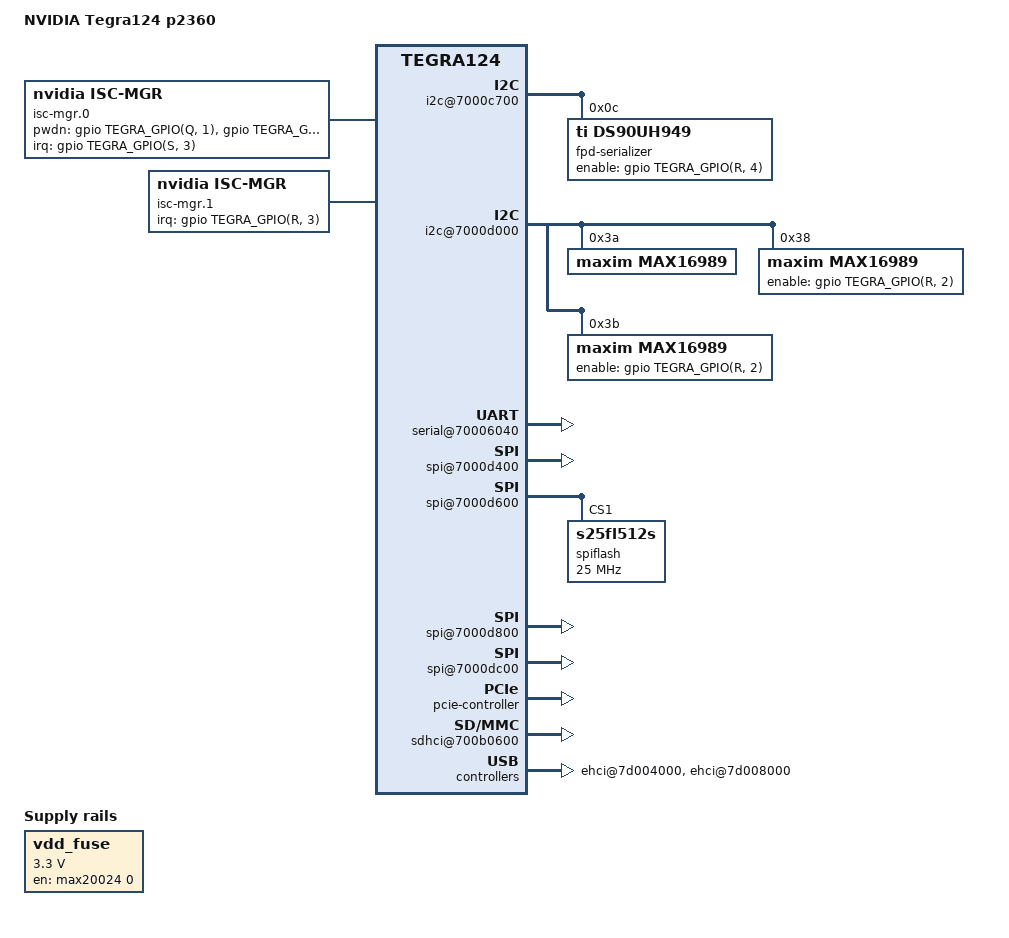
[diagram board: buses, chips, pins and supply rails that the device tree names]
/*
 * arch/arm/boot/dts/tegra124-p2360.dts
 *
 * Copyright (c) 2014-2015, NVIDIA CORPORATION.  All rights reserved.
 *
 * This program is free software; you can redistribute it and/or modify
 * it under the terms of the GNU General Public License as published by
 * the Free Software Foundation; version 2 of the License.
 *
 * This program is distributed in the hope that it will be useful, but WITHOUT
 * ANY WARRANTY; without even the implied warranty of MERCHANTABILITY or
 * FITNESS FOR A PARTICULAR PURPOSE.  See the GNU General Public License for
 * more details.
 *
 * You should have received a copy of the GNU General Public License along
 * with this program; if not, write to the Free Software Foundation, Inc.,
 * 51 Franklin Street, Fifth Floor, Boston, MA  02110-1301, USA.
 *
 */

 /dts-v1/;

#include "tegra124-vcm30_t124.dtsi"
#include <tegra124-platforms/tegra124-vcm30-t124-hdmi.dtsi>
#include <panel-a-lvds-800-480-14-0.dtsi>
#include <dt-bindings/display/tegra-panel.h>
#include <tegra124-platforms/tegra124-pmic-vcm30t124-max20024.dtsi>

/ {
	model = "NVIDIA Tegra124 p2360";
	compatible = "nvidia,p2360", "nvidia,tegra124";
	nvidia,dtsfilename = __FILE__;
	#address-cells = <2>;
	#size-cells = <2>;

	firmware {
		android {
			compatible = "android,firmware";
			hardware = "p2360";
		};
	};

	host1x {
		sor {
			status = "okay";
			panel-lvds-800-480 {
				status = "okay";
				disp-default-out {
					nvidia,out-max-pixclk = <3367>;
				};
			};
		};
		/* tegradc.0 */
		dc@54200000 {
			nvidia,dc-flags = <TEGRA_DC_FLAG_ENABLED>;
			nvidia,emc-clk-rate = <300000000>;
			nvidia,fb-bpp = <32>; /* bits per pixel */
			status = "okay";
		};
		/* tegradc.1 */
		dc@54240000 {
			nvidia,emc-clk-rate = <300000000>;
			nvidia,fb-bpp = <32>; /* bits per pixel */
			status = "okay";
		};
		hdmi {
			nvidia,hpd-gpio = <&gpio 0xFFFFFFFF 1>; /* hotplug less HDMI */
			hdmi-display {
				nvidia,edid = [00 FF FF FF FF FF FF 00 04 21 00 00 00 00 00 00
						01 00 01 03 00 00 00 00 00 00 00 00 00 00 00 00
						00 00 00 00 00 00 01 01 01 01 01 01 01 01 01 01
						01 01 01 01 01 01 FE 0C 20 00 31 E0 2D 10 40 40
						43 00 00 00 00 00 00 00 00 00 00 10 00 00 00 00
						00 00 00 00 00 00 00 00 00 00 00 00 00 10 00 00
						00 00 00 00 00 00 00 00 00 00 00 00 00 00 00 10
						00 00 00 00 00 00 00 00 00 00 00 00 00 00 00 61];
				nvidia,hdmi-fpd-bridge = <TEGRA_HDMI_ENABLE>;
			};
		};
	};

	i2c@7000c700 {
		fpd-serializer@0c {
			compatible = "ti,ds90uh949";
			reg = <0x0c>;
			ti,enable-gpio = <&gpio TEGRA_GPIO(R, 4) 0>; /*PR4*/
			ti,power-on-delay = <4>;
			ti,power-off-delay = <3>;
		};
	};

	i2c@7000d000 {
		status = "okay";

		max16989@3a {
			compatible = "maxim,max16989";
			reg = <0x3a>;
			regulator-name = "max16989-vdd-cpu";
			regulator-min-microvolt = <500000>;
			regulator-max-microvolt = <1500000>;
			consumers {
				c1 {
					regulator-consumer-supply = "vdd_cpu";
				};
			};
		};

		max16989@38 {
			compatible = "maxim,max16989";
			reg = <0x38>;
			regulator-name = "max16989-vdd-gpu";
			regulator-min-microvolt = <500000>;
			regulator-max-microvolt = <1500000>;
			maxim,enable-gpio = <&gpio TEGRA_GPIO(R, 2) 0>;
			regulator-enable-ramp-delay = <210>;
			consumers {
				c1 {
					regulator-consumer-supply = "vdd_gpu";
				};
			};
		};

		max16989@3b {
			compatible = "maxim,max16989";
			reg = <0x3b>;
			regulator-name = "max16989-vdd-gpu";
			regulator-min-microvolt = <500000>;
			regulator-max-microvolt = <1500000>;
			enable-gpio = <&gpio TEGRA_GPIO(R, 2) 0>;
			regulator-enable-ramp-delay = <210>;
			consumers {
				c1 {
					regulator-consumer-supply = "vdd_gpu";
				};
			};
		};
	};


	serial@70006040 {
		compatible = "nvidia,tegra20-uart";
		console-port;
		status = "okay";
	};

	spi@7000d400 {
		status = "okay";
		compatible = "nvidia,tegra124-spi-slave";
		nvidia,clk-pin = "gpio_x5_aud_px5";
		nvidia,gpio-slave-ready = <&gpio TEGRA_GPIO(K, 4) 0>; /*PK4*/
		nvidia,gpio-slave-ready-active-high;
		nvidia,rx-trigger-words = <0>;
	};

	spi@7000d600 {
		status = "okay";
		nvidia,maximum-dma-buffer-size = <65536>;

		spi@1 {
			status = "disabled";
		};

		spiflash@1 {
			compatible = "s25fl512s";
			reg = <1>;
			spi-max-frequency = <25000000>;
		};
	};

	spi@7000d800 {
		status = "okay";
		nvidia,maximum-dma-buffer-size = <65536>;
		spi@1 {
			status = "disabled";
		};
	};

	spi@7000dc00 {
		status = "okay";
		compatible = "nvidia,tegra124-spi-slave";
		nvidia,clk-pin = "ulpi_nxt_py2";
		nvidia,gpio-slave-ready = <&gpio TEGRA_GPIO(I, 3) 0>; /*PI3*/
		nvidia,gpio-slave-ready-active-high;
		nvidia,rx-trigger-words = <0>;
	};

	pcie-controller {
		status = "okay";
		nvidia,boot-detect-delay = <10000>;

		pci@1,0 {
			status = "okay";
		};

		pci@2,0 {
			status = "okay";
		};
	};

	sdhci@700b0600 {
		status = "okay";
	};

	snor {
		status = "okay";
	};

	ehci@7d000000 {
		nvidia,is-intf-utmi;
		status = "disabled";
	};

	ehci@7d004000 {
		nvidia,is-intf-utmi;
		status = "okay";
	};

	ehci@7d008000 {
		nvidia,is-intf-utmi;
		status = "okay";
	};

	smmu: iommu {
		#asids = <120>;
	};

	cpu_dfll_pmic_integration {
		pmic-i2c-address = <0x74>;
		pmic-i2c-voltage-register = <0x07>;
		i2c-fs-rate = <400000>;
		sel-conversion-slope = <1>;
	};

	isc-mgr.0 {
		compatible = "nvidia,isc-mgr";
		i2c-bus = <2>;
		csi-port = <0>;
		pwdn-gpios = < &gpio TEGRA_GPIO(Q, 1) GPIO_ACTIVE_HIGH	/* GMSL_IN1_PDN */
			&gpio TEGRA_GPIO(I, 5) GPIO_ACTIVE_HIGH		/* CSI1_TV_EN1 */
			&gpio TEGRA_GPIO(K, 2) GPIO_ACTIVE_HIGH		/* CSI1_TV_EN2 */
			&gpio TEGRA_GPIO(K, 0) GPIO_ACTIVE_HIGH		/* CSI1_TV_EN3 */
			&gpio TEGRA_GPIO(K, 1) GPIO_ACTIVE_HIGH>;	/* CSI1_TV_EN4 */
		/* default-power-on; */
		interrupt-parent = <&gpio>;
		interrupts = <TEGRA_GPIO(S, 3) 2>; /* gpio PS3 : falling edge sensitive */
		status = "okay";
	};

	isc-mgr.1 {
		compatible = "nvidia,isc-mgr";
		i2c-bus = <0>;
		csi-port = <2>;
		/* default-power-on; */
		interrupt-parent = <&gpio>;
		interrupts = <TEGRA_GPIO(R, 3) 2>; /* gpio PR3 : falling edge sensitive */
		status = "okay";
	};

	regulators {
		compatible = "simple-bus";
		device_type = "fixed-regulators";
		#address-cells = <1>;
		#size-cells = <0>;

		vdd_fuse: regulator@1 {
			compatible = "regulator-fixed-sync";
			regulator-name = "vdd_fuse";
			regulator-min-microvolt = <3300000>;
			regulator-max-microvolt = <3300000>;
			gpio = <&max20024 0 0>;
			enable-active-high;
		};
	};

	/* Populate fuse supply */
	efuse@7000f800 {
		vpp_fuse-supply = <&vdd_fuse>;
	};

};
